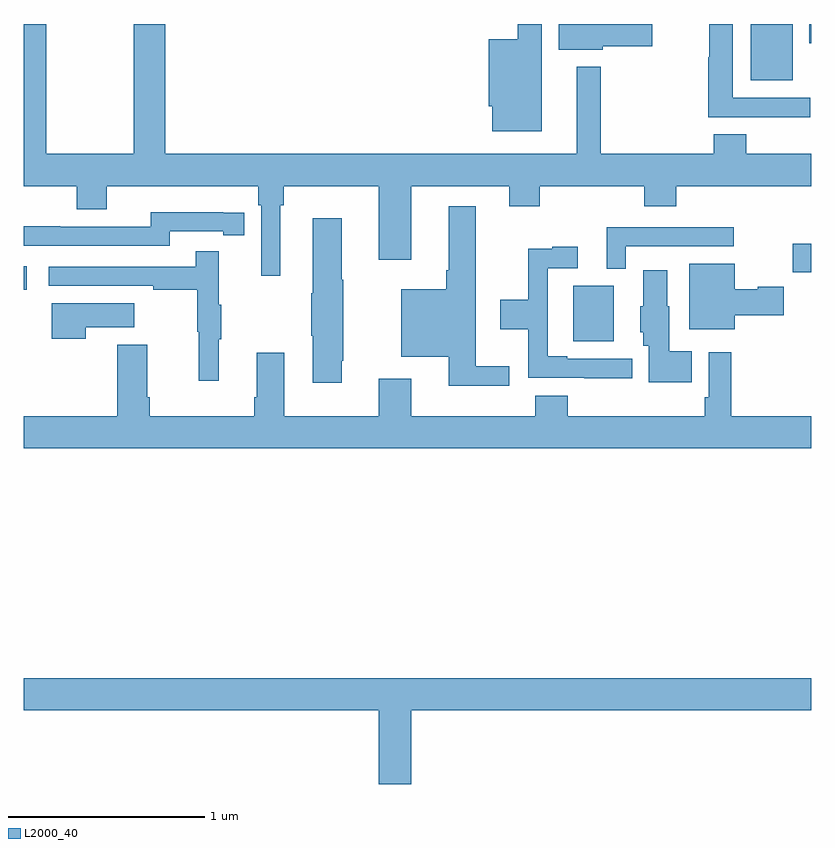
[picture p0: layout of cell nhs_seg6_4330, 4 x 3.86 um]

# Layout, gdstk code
import gdstk
lib = gdstk.Library(unit=1e-6, precision=1e-09)
def R(c, l, rs):  # rectangles x0, y0, x1, y1
    for r in rs: c.add(gdstk.rectangle(r[:2], r[2:], *l))
def P(c, l, *ps):  # polygons
    for p in ps: c.add(gdstk.Polygon(p, *l))
L2000_40 = (2000, 40)

nhs_seg6_4330 = lib.new_cell('nhs_seg6_4330')
R(nhs_seg6_4330, L2000_40, [(369.791,939.887,369.997,940.171), (367,940.149,367.015,940.27), (370.908,940.238,371,940.383), (370.694,941.213,370.906,941.5), (370.991,941.402,371,941.5)])
P(nhs_seg6_4330, L2000_40, [(368.302,940.58),(368.321,940.58),(368.321,940.676),(368.804,940.676),(368.804,940.302),(368.968,940.302),(368.968,940.676),(369.467,940.676),(369.467,940.574),(369.62,940.574),(369.62,940.676),(370.151,940.676),(370.151,940.574),(370.316,940.574),(370.316,940.676),(371,940.676),(371,940.84),(370.67,940.84),(370.67,940.939),(370.505,940.939),(370.505,940.84),(369.931,940.84),(369.931,941.284),(369.809,941.284),(369.809,940.84),(367.718,940.84),(367.718,941.5),(367.558,941.5),(367.558,940.84),(367.113,940.84),(367.113,941.5),(367,941.5),(367,940.676),(367.268,940.676),(367.268,940.559),(367.42,940.559),(367.42,940.676),(368.192,940.676),(368.192,940.58),(368.205,940.58),(368.205,940.221),(368.302,940.221)],
  [(370.996,941.124),(370.603,941.124),(370.603,941.5),(370.483,941.5),(370.483,941.331),(370.478,941.331),(370.478,941.027),(370.996,941.027)],
  [(369.942,941.387),(370.194,941.387),(370.194,941.5),(369.719,941.5),(369.719,941.369),(369.942,941.369)],
  [(369.631,941.5),(369.51,941.5),(369.51,941.422),(369.362,941.422),(369.362,941.082),(369.38,941.082),(369.38,940.955),(369.631,940.955)],
  [(369.466,939.761),(369.295,939.761),(369.295,940.573),(369.158,940.573),(369.158,940.249),(369.146,940.249),(369.146,940.153),(368.918,940.153),(368.918,939.809),(369.158,939.809),(369.158,939.662),(369.466,939.662)],
  [(367.74,940.446),(368.012,940.446),(368.012,940.426),(368.12,940.426),(368.12,940.542),(368.012,940.542),(368.012,940.543),(367.644,940.543),(367.644,940.47),(367.184,940.47),(367.184,940.472),(367,940.472),(367,940.374),(367.74,940.374)],
  [(368.614,939.79),(368.622,939.79),(368.622,940.2),(368.614,940.2),(368.614,940.513),(368.468,940.513),(368.468,940.133),(368.461,940.133),(368.461,939.916),(368.468,939.916),(368.468,939.678),(368.614,939.678)],
  [(370.059,940.371),(370.606,940.371),(370.606,940.467),(369.962,940.467),(369.962,940.256),(370.059,940.256)],
  [(370.09,939.798),(369.76,939.798),(369.76,939.811),(369.663,939.811),(369.663,940.26),(369.814,940.26),(369.814,940.369),(369.686,940.369),(369.686,940.358),(369.562,940.358),(369.562,940.098),(369.42,940.098),(369.42,939.95),(369.562,939.95),(369.562,939.702),(369.847,939.702),(369.847,939.701),(370.09,939.701)],
  [(367.991,939.899),(368.002,939.899),(368.002,940.073),(367.991,940.073),(367.991,940.345),(367.873,940.345),(367.873,940.266),(367.125,940.266),(367.125,940.17),(367.657,940.17),(367.657,940.15),(367.881,940.15),(367.881,939.936),(367.888,939.936),(367.888,939.687),(367.991,939.687)],
  [(370.612,940.019),(370.861,940.019),(370.861,940.166),(370.728,940.166),(370.728,940.153),(370.612,940.153),(370.612,940.282),(370.382,940.282),(370.382,939.95),(370.612,939.95)],
  [(370.394,939.838),(370.279,939.838),(370.279,940.065),(370.27,940.065),(370.27,940.249),(370.148,940.249),(370.148,940.065),(370.133,940.065),(370.133,939.933),(370.148,939.933),(370.148,939.864),(370.175,939.864),(370.175,939.68),(370.394,939.68)],
  [(367.313,939.959),(367.561,939.959),(367.561,940.081),(367.142,940.081),(367.142,939.9),(367.313,939.9)],
  [(371,939.508),(370.595,939.508),(370.595,939.832),(370.479,939.832),(370.479,939.604),(370.459,939.604),(370.459,939.508),(369.764,939.508),(369.764,939.61),(369.599,939.61),(369.599,939.508),(368.968,939.508),(368.968,939.697),(368.804,939.697),(368.804,939.508),(368.323,939.508),(368.323,939.829),(368.183,939.829),(368.183,939.604),(368.171,939.604),(368.171,939.508),(367.64,939.508),(367.64,939.604),(367.627,939.604),(367.627,939.871),(367.475,939.871),(367.475,939.508),(367,939.508),(367,939.344),(371,939.344)],
  [(368.968,938.012),(371,938.012),(371,938.176),(367,938.176),(367,938.012),(368.804,938.012),(368.804,937.638),(368.968,937.638)])

lib.write_gds('nhs_seg6_4330.gds')
